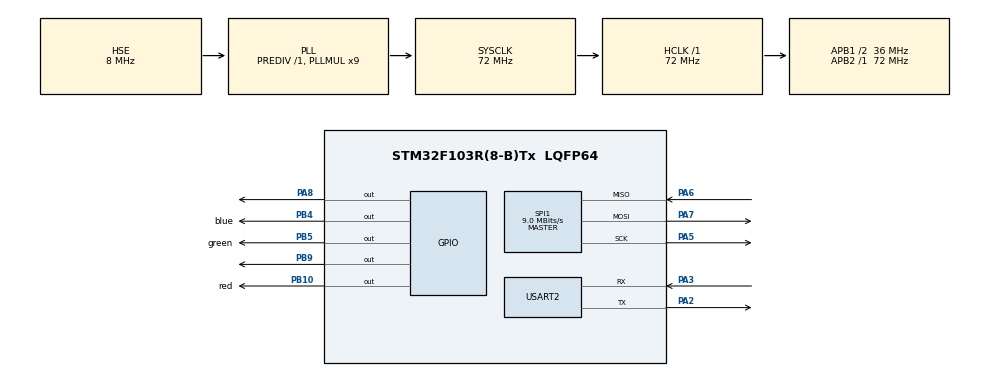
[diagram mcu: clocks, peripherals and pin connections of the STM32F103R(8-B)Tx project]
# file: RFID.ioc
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Mcu.Family=STM32F1
Mcu.Name=STM32F103R(8-B)Tx
Mcu.Package=LQFP64
NVIC.PriorityGroup=NVIC_PRIORITYGROUP_4
NVIC.USART2_IRQn=true\:0\:0\:false\:false\:true\:true\:true\:true
PA13.Mode=Serial_Wire
PA13.Signal=SYS_JTMS-SWDIO
PA14.Mode=Serial_Wire
PA14.Signal=SYS_JTCK-SWCLK
PA2.Mode=Asynchronous
PA2.Signal=USART2_TX
PA3.Mode=Asynchronous
PA3.Signal=USART2_RX
PA5.Mode=Full_Duplex_Master
PA5.Signal=SPI1_SCK
PA6.GPIO_PuPd=GPIO_PULLUP
PA6.Mode=Full_Duplex_Master
PA6.Signal=SPI1_MISO
PA7.Mode=Full_Duplex_Master
PA7.Signal=SPI1_MOSI
PA8.Signal=GPIO_Output
PB10.GPIO_Label=red
PB10.Signal=GPIO_Output
PB4.GPIO_Label=blue
PB4.Signal=GPIO_Output
PB5.GPIO_Label=green
PB5.Signal=GPIO_Output
PB9.Signal=GPIO_Output
PD0-OSC_IN.Mode=HSE-External-Oscillator
PD0-OSC_IN.Signal=RCC_OSC_IN
PD1-OSC_OUT.Mode=HSE-External-Oscillator
PD1-OSC_OUT.Signal=RCC_OSC_OUT
ProjectManager.HeapSize=0x200
ProjectManager.StackSize=0x400
ProjectManager.TargetToolchain=STM32CubeIDE
RCC.AHBFreq_Value=72000000
RCC.APB1CLKDivider=RCC_HCLK_DIV2
RCC.APB1Freq_Value=36000000
RCC.APB1TimFreq_Value=72000000
RCC.APB2Freq_Value=72000000
RCC.APB2TimFreq_Value=72000000
RCC.HCLKFreq_Value=72000000
RCC.PLLMUL=RCC_PLL_MUL9
RCC.PLLSourceVirtual=RCC_PLLSOURCE_HSE
RCC.SYSCLKFreq_VALUE=72000000
RCC.SYSCLKSource=RCC_SYSCLKSOURCE_PLLCLK
RCC.USBFreq_Value=72000000
SPI1.BaudRatePrescaler=SPI_BAUDRATEPRESCALER_8
SPI1.CalculateBaudRate=9.0 MBits/s
SPI1.Direction=SPI_DIRECTION_2LINES
SPI1.Mode=SPI_MODE_MASTER
SPI1.VirtualType=VM_MASTER
USART2.VirtualMode=VM_ASYNC
board=custom

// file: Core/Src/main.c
/* USER CODE BEGIN Header */
/**
  ******************************************************************************
  * @file           : main.c
  * @brief          : Main program body
  ******************************************************************************
  * @attention
  *
  * Copyright (c) 2026 STMicroelectronics.
  * All rights reserved.
  *
  * This software is licensed under terms that can be found in the LICENSE file
  * in the root directory of this software component.
  * If no LICENSE file comes with this software, it is provided AS-IS.
  *
  ******************************************************************************
  */
/* USER CODE END Header */
#include "main.h"

/* USER CODE BEGIN Includes */
#include "RC522.h"
#include "stdio.h"
#include "string.h"
/* USER CODE END Includes */

/* USER CODE BEGIN PTD */
const uint8_t card1_uid[5] = {109, 158, 130, 33, 80};
const uint8_t card2_uid[5] = {83, 173, 232, 44, 58};
/* USER CODE END PTD */

SPI_HandleTypeDef hspi1;

UART_HandleTypeDef huart2;

/* USER CODE BEGIN PV */

uint8_t status;
uint8_t str[16];
uint8_t sNum[5];
uint8_t version;

char *msg1 = "Reading from card\r\n";
char *msg2 = "Reading from Tag\r\n";

/* USER CODE END PV */

void SystemClock_Config(void);
static void MX_GPIO_Init(void);
static void MX_SPI1_Init(void);
static void MX_USART2_UART_Init(void);

int main(void)
{

  /* MCU Configuration--------------------------------------------------------*/

  /* Reset of all peripherals, Initializes the Flash interface and the Systick. */
  HAL_Init();

  /* Configure the system clock */
  SystemClock_Config();

  /* Initialize all configured peripherals */
  MX_GPIO_Init();
  MX_SPI1_Init();
  MX_USART2_UART_Init();
  /* USER CODE BEGIN 2 */
  MFRC522_Init();
  version = Read_MFRC522(VersionReg);
  /* USER CODE END 2 */

  /* Infinite loop */
  while (1)
  {

    /* USER CODE BEGIN 3 */
	  status = MFRC522_Request(PICC_REQIDL,str);
	  status = MFRC522_Anticoll(str);
	  memcpy(sNum,str,5);
	  HAL_Delay(200);

	  if((str[0]==109) && (str[1]==158) && (str[2]==130) && (str[3]==33) && (str[4]==80)){
		  HAL_GPIO_WritePin(green_GPIO_Port,green_Pin,1);
		  HAL_GPIO_WritePin(red_GPIO_Port,red_Pin,0);
		  HAL_GPIO_WritePin(blue_GPIO_Port,blue_Pin,0);

		  HAL_UART_Transmit(&huart2,(uint8_t*)msg1,strlen(msg1),HAL_MAX_DELAY);

	  }

	  else if ((sNum[0]==83) && (sNum[1]==173) && (sNum[2]==232) && (sNum[3]==44) && (sNum[4]==58)){
		          HAL_GPIO_WritePin(green_GPIO_Port,green_Pin,0);
		  		  HAL_GPIO_WritePin(red_GPIO_Port,red_Pin,0);
		  		  HAL_GPIO_WritePin(blue_GPIO_Port,blue_Pin,1);
	 		  HAL_UART_Transmit(&huart2,(uint8_t*)msg2,strlen(msg2),HAL_MAX_DELAY);

	 	  }

	  else
	  {
		  	  	  HAL_GPIO_WritePin(green_GPIO_Port,green_Pin,0);
		  		  HAL_GPIO_WritePin(red_GPIO_Port,red_Pin,1);
		  		  HAL_GPIO_WritePin(blue_GPIO_Port,blue_Pin,0);
	  }

//	  char uidStr[50];
//	  if (status == MI_OK)
//	  {
//	      sprintf(uidStr, "Card UID: %02X %02X %02X %02X\r\n", sNum[0], sNum[1], sNum[2], sNum[3]);
//	      HAL_UART_Transmit(&huart2, (uint8_t*)uidStr, strlen(uidStr), 100);
//	  }

  }
  /* USER CODE END 3 */
}

void SystemClock_Config(void)
{
  RCC_OscInitTypeDef RCC_OscInitStruct = {0};
  RCC_ClkInitTypeDef RCC_ClkInitStruct = {0};

  /** Initializes the RCC Oscillators according to the specified parameters
  * in the RCC_OscInitTypeDef structure.
  */
  RCC_OscInitStruct.OscillatorType = RCC_OSCILLATORTYPE_HSE;
  RCC_OscInitStruct.HSEState = RCC_HSE_ON;
  RCC_OscInitStruct.HSEPredivValue = RCC_HSE_PREDIV_DIV1;
  RCC_OscInitStruct.HSIState = RCC_HSI_ON;
  RCC_OscInitStruct.PLL.PLLState = RCC_PLL_ON;
  RCC_OscInitStruct.PLL.PLLSource = RCC_PLLSOURCE_HSE;
  RCC_OscInitStruct.PLL.PLLMUL = RCC_PLL_MUL9;
  if (HAL_RCC_OscConfig(&RCC_OscInitStruct) != HAL_OK)
  {
    Error_Handler();
  }

  /** Initializes the CPU, AHB and APB buses clocks
  */
  RCC_ClkInitStruct.ClockType = RCC_CLOCKTYPE_HCLK|RCC_CLOCKTYPE_SYSCLK
                              |RCC_CLOCKTYPE_PCLK1|RCC_CLOCKTYPE_PCLK2;
  RCC_ClkInitStruct.SYSCLKSource = RCC_SYSCLKSOURCE_PLLCLK;
  RCC_ClkInitStruct.AHBCLKDivider = RCC_SYSCLK_DIV1;
  RCC_ClkInitStruct.APB1CLKDivider = RCC_HCLK_DIV2;
  RCC_ClkInitStruct.APB2CLKDivider = RCC_HCLK_DIV1;

  if (HAL_RCC_ClockConfig(&RCC_ClkInitStruct, FLASH_LATENCY_2) != HAL_OK)
  {
    Error_Handler();
  }
}

static void MX_SPI1_Init(void)
{

  /* SPI1 parameter configuration*/
  hspi1.Instance = SPI1;
  hspi1.Init.Mode = SPI_MODE_MASTER;
  hspi1.Init.Direction = SPI_DIRECTION_2LINES;
  hspi1.Init.DataSize = SPI_DATASIZE_8BIT;
  hspi1.Init.CLKPolarity = SPI_POLARITY_LOW;
  hspi1.Init.CLKPhase = SPI_PHASE_1EDGE;
  hspi1.Init.NSS = SPI_NSS_SOFT;
  hspi1.Init.BaudRatePrescaler = SPI_BAUDRATEPRESCALER_8;
  hspi1.Init.FirstBit = SPI_FIRSTBIT_MSB;
  hspi1.Init.TIMode = SPI_TIMODE_DISABLE;
  hspi1.Init.CRCCalculation = SPI_CRCCALCULATION_DISABLE;
  hspi1.Init.CRCPolynomial = 10;
  if (HAL_SPI_Init(&hspi1) != HAL_OK)
  {
    Error_Handler();
  }

}

static void MX_USART2_UART_Init(void)
{

  huart2.Instance = USART2;
  huart2.Init.BaudRate = 115200;
  huart2.Init.WordLength = UART_WORDLENGTH_8B;
  huart2.Init.StopBits = UART_STOPBITS_1;
  huart2.Init.Parity = UART_PARITY_NONE;
  huart2.Init.Mode = UART_MODE_TX_RX;
  huart2.Init.HwFlowCtl = UART_HWCONTROL_NONE;
  huart2.Init.OverSampling = UART_OVERSAMPLING_16;
  if (HAL_UART_Init(&huart2) != HAL_OK)
  {
    Error_Handler();
  }

}

static void MX_GPIO_Init(void)
{
  GPIO_InitTypeDef GPIO_InitStruct = {0};

  /* GPIO Ports Clock Enable */
  __HAL_RCC_GPIOD_CLK_ENABLE();
  __HAL_RCC_GPIOA_CLK_ENABLE();
  __HAL_RCC_GPIOB_CLK_ENABLE();

  /*Configure GPIO pin Output Level */
  HAL_GPIO_WritePin(GPIOB, red_Pin|blue_Pin|green_Pin|GPIO_PIN_9, GPIO_PIN_RESET);

  /*Configure GPIO pin Output Level */
  HAL_GPIO_WritePin(GPIOA, GPIO_PIN_8, GPIO_PIN_RESET);

  /*Configure GPIO pins : red_Pin blue_Pin green_Pin PB9 */
  GPIO_InitStruct.Pin = red_Pin|blue_Pin|green_Pin|GPIO_PIN_9;
  GPIO_InitStruct.Mode = GPIO_MODE_OUTPUT_PP;
  GPIO_InitStruct.Pull = GPIO_NOPULL;
  GPIO_InitStruct.Speed = GPIO_SPEED_FREQ_LOW;
  HAL_GPIO_Init(GPIOB, &GPIO_InitStruct);

  /*Configure GPIO pin : PA8 */
  GPIO_InitStruct.Pin = GPIO_PIN_8;
  GPIO_InitStruct.Mode = GPIO_MODE_OUTPUT_PP;
  GPIO_InitStruct.Pull = GPIO_NOPULL;
  GPIO_InitStruct.Speed = GPIO_SPEED_FREQ_LOW;
  HAL_GPIO_Init(GPIOA, &GPIO_InitStruct);

}

void Error_Handler(void)
{
  __disable_irq();
  while (1)
  {
  }
}
